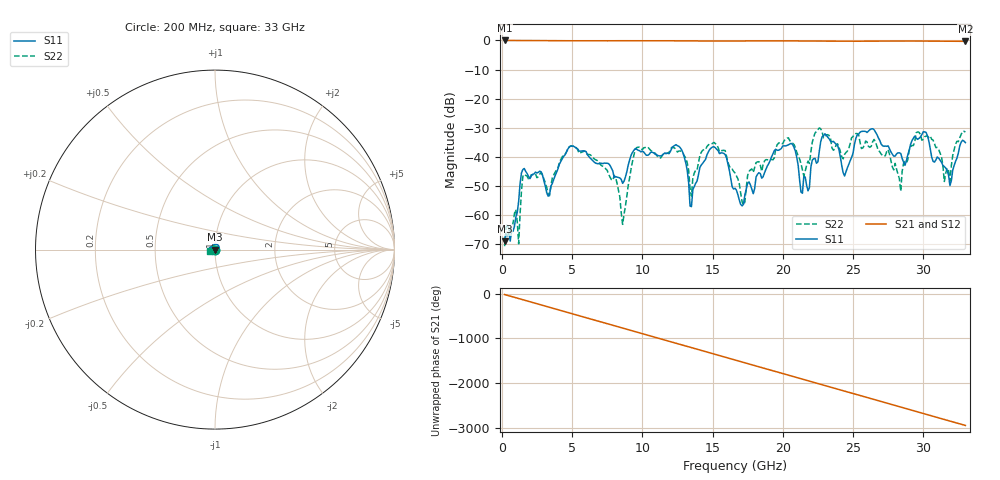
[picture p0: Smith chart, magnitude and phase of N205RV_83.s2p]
# GHZ S RI R 50
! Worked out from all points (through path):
!   329 points, 200 MHz to 33 GHz, reference 50 ohm
!   highest |S21| = -0.01 dB at 200 MHz (marker M1); lowest = -0.3 dB at 33 GHz (marker M2)
!   group delay of S21, straight-line fit = 248 ps
!   lowest |S11| = -69.0 dB at 200 MHz (marker M3), VSWR 1.00, Z = 50 - j0.03 ohm
!   |S11| at or under -10 dB: start of sweep to end of sweep
!   |S22| runs from -70.7 to -30.1 dB; largest |S21 - S12| = 0.0019
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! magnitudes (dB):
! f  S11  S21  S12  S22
! 200 MHz  -69.0  0.0  0.0  -70.7
! 1 GHz  -60.7  0.0  0.0  -58.1
! 1.2 GHz  -55.3  0.0  0.0  -69.9
! 1.5 GHz  -44.3  0.0  0.0  -46.7
! 3.3 GHz  -53.5  -0.1  -0.1  -52.7
! 5.7 GHz  -37.9  -0.1  -0.1  -38.3
! 8.1 GHz  -46.8  -0.1  -0.1  -47.1
! 8.6 GHz  -49.1  -0.1  -0.1  -63.2
! 9.5 GHz  -37.2  -0.1  -0.1  -37.4
! 11.2 GHz  -39.6  -0.1  -0.1  -40.4
! 12.8 GHz  -37.6  -0.2  -0.2  -38.2
! 13.5 GHz  -57.1  -0.2  -0.2  -53.5
! 15 GHz  -36.6  -0.2  -0.2  -35.4
! 16.6 GHz  -50.8  -0.2  -0.2  -45.5
! 17.2 GHz  -56.4  -0.2  -0.2  -56.5
! 19.5 GHz  -37.4  -0.2  -0.2  -37.2
! 22.1 GHz  -41.1  -0.2  -0.2  -35.0
! 27.6 GHz  -37.3  -0.2  -0.2  -39.1
! 28.4 GHz  -38.8  -0.2  -0.2  -51.8
! 30.2 GHz  -31.6  -0.2  -0.2  -32.8
! 31.9 GHz  -49.8  -0.3  -0.3  -48.3
! 33 GHz  -35.1  -0.3  -0.3  -31.4
